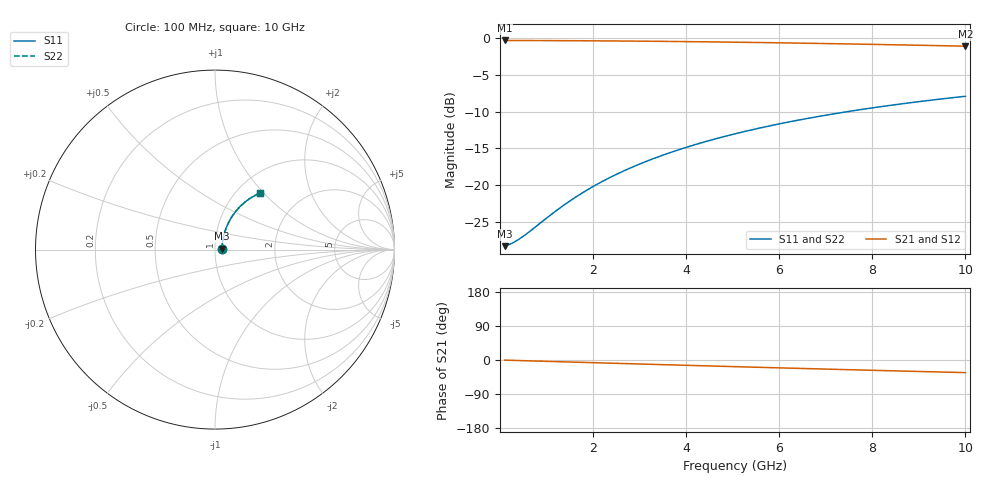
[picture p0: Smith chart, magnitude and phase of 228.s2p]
# Hz S RI R 50.00
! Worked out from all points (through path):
!   100 points, 100 MHz to 10 GHz, reference 50 ohm
!   highest |S21| = -0.34 dB at 100 MHz (marker M1); lowest = -1.1 dB at 10 GHz (marker M2)
!   group delay of S21, straight-line fit = 9.28 ps
!   lowest |S11| = -28.3 dB at 100 MHz (marker M3), VSWR 1.08, Z = 54 + j0.462 ohm
!   |S11| at or under -10 dB: start of sweep to 7.47 GHz
!   |S22| runs from -28.3 to -7.9 dB; largest |S21 - S12| = 0
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1e8  0.0384 0.00427  0.9616 -0.00594  0.9616 -0.00594  0.0384 0.00427
2e8  0.0387 0.00854  0.9613 -0.0119  0.9613 -0.0119  0.0387 0.00854
3e8  0.039 0.0128  0.961 -0.0178  0.961 -0.0178  0.039 0.0128
5e8  0.0397 0.0213  0.9602 -0.0297  0.9602 -0.0297  0.0397 0.0213
1.1e9  0.0428 0.0467  0.9571 -0.065  0.9571 -0.065  0.0428 0.0467
1.3e9  0.0441 0.0551  0.9556 -0.0768  0.9556 -0.0768  0.0441 0.0551
1.5e9  0.0457 0.0634  0.9539 -0.0884  0.9539 -0.0884  0.0457 0.0634
1.8e9  0.0484 0.0758  0.9511 -0.1059  0.9511 -0.1059  0.0484 0.0758
2.1e9  0.0516 0.0881  0.9477 -0.1232  0.9477 -0.1232  0.0516 0.0881
2.5e9  0.0565 0.1042  0.9426 -0.146  0.9426 -0.146  0.0565 0.1042
2.9e9  0.0621 0.12  0.9366 -0.1685  0.9366 -0.1685  0.0621 0.12
3.4e9  0.0702 0.1393  0.9281 -0.1961  0.9281 -0.1961  0.0702 0.1393
3.8e9  0.0774 0.1542  0.9205 -0.2177  0.9205 -0.2177  0.0774 0.1542
4.2e9  0.0853 0.1687  0.9122 -0.2389  0.9122 -0.2389  0.0853 0.1687
4.6e9  0.0938 0.1827  0.9031 -0.2596  0.9031 -0.2596  0.0938 0.1827
5.1e9  0.1052 0.1995  0.891 -0.2848  0.891 -0.2848  0.1052 0.1995
5.9e9  0.1253 0.2246  0.8697 -0.3233  0.8697 -0.3233  0.1253 0.2246
6.7e9  0.1472 0.2473  0.8463 -0.3595  0.8463 -0.3595  0.1472 0.2473
7.5e9  0.1707 0.2675  0.8211 -0.3933  0.8211 -0.3933  0.1707 0.2675
8.4e9  0.1985 0.2872  0.7912 -0.4283  0.7912 -0.4283  0.1985 0.2872
9.2e9  0.2242 0.3021  0.7635 -0.4568  0.7635 -0.4568  0.2242 0.3021
1e10  0.2504 0.3144  0.7349 -0.4828  0.7349 -0.4828  0.2504 0.3144
